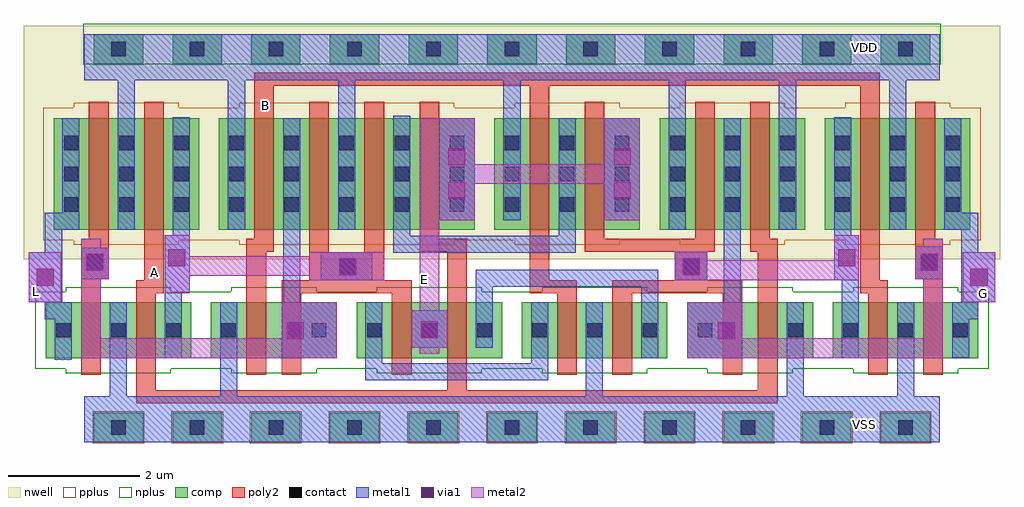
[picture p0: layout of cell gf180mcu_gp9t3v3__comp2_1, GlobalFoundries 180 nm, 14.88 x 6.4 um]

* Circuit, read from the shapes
.subckt gf180mcu_gp9t3v3__comp2_1 A B E G L VDD VSS
XM1 VSS n1 L VSS nfet_03v3 w=0.85u l=0.3u
XM2 n2 A VSS VSS nfet_03v3 w=0.85u l=0.3u
XM3 n3 B VSS VSS nfet_03v3 w=0.85u l=0.3u
XM4 n1 n2 n3 VSS nfet_03v3 w=0.85u l=0.3u
XM5 E n2 n4 VSS nfet_03v3 w=0.85u l=0.3u
XM6 n5 A E VSS nfet_03v3 w=0.85u l=0.3u
XM7 VSS B n4 VSS nfet_03v3 w=0.85u l=0.3u
XM8 n5 n6 VSS VSS nfet_03v3 w=0.85u l=0.3u
XM9 n7 n6 n8 VSS nfet_03v3 w=0.85u l=0.3u
XM10 VSS A n7 VSS nfet_03v3 w=0.85u l=0.3u
XM11 VSS B n6 VSS nfet_03v3 w=0.85u l=0.3u
XM12 G n8 VSS VSS nfet_03v3 w=0.85u l=0.3u
XM13 VDD n1 L VDD pfet_03v3 w=1.7u l=0.3u
XM14 n2 A VDD VDD pfet_03v3 w=1.7u l=0.3u
XM15 n1 B VDD VDD pfet_03v3 w=1.7u l=0.3u
XM16 VDD n2 n1 VDD pfet_03v3 w=1.7u l=0.3u
XM17 n9 n2 VDD VDD pfet_03v3 w=1.7u l=0.3u
XM18 E A n9 VDD pfet_03v3 w=1.7u l=0.3u
XM19 n9 B VDD VDD pfet_03v3 w=1.7u l=0.3u
XM20 E n6 n9 VDD pfet_03v3 w=1.7u l=0.3u
XM21 n8 n6 VDD VDD pfet_03v3 w=1.7u l=0.3u
XM22 VDD A n8 VDD pfet_03v3 w=1.7u l=0.3u
XM23 VDD B n6 VDD pfet_03v3 w=1.7u l=0.3u
XM24 G n8 VDD VDD pfet_03v3 w=1.7u l=0.3u
.ends

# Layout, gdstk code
import gdstk
lib = gdstk.Library(unit=1e-6, precision=1e-09)
def R(c, l, rs):  # rectangles x0, y0, x1, y1
    for r in rs: c.add(gdstk.rectangle(r[:2], r[2:], *l))
def A(c, l, x, y, w, h, nx, ny, dx, dy):  # array of equal rectangles
    R(c, l, [(x+i*dx, y+j*dy, x+i*dx+w, y+j*dy+h) for i in range(nx) for j in range(ny)])
nwell = (21, 0)
comp = (22, 0)
poly2 = (30, 0)
pplus = (31, 0)
nplus = (32, 0)
contact = (33, 0)
metal1 = (34, 0)
via1 = (35, 0)
metal2 = (36, 0)

gf180mcu_gp9t3v3__comp2_ = lib.new_cell('gf180mcu_gp9t3v3__comp2_1')
R(gf180mcu_gp9t3v3__comp2_, nwell, [(-64.035,67.205,-49.155,70.765)])
A(gf180mcu_gp9t3v3__comp2_, comp, -62.97, 64.415, 0.75, 0.45, 11, 2, 1.2, 5.77)
A(gf180mcu_gp9t3v3__comp2_, comp, -56.865, 67.655, 2.22, 1.7, 3, 1, 2.52, 0)
R(gf180mcu_gp9t3v3__comp2_, comp, [(-63.705,65.695,-61.485,66.545), (-61.185,65.695,-59.265,66.545), (-58.965,65.695,-56.745,66.545), (-56.445,65.695,-54.225,66.545), (-53.925,65.695,-52.005,66.545), (-51.705,65.695,-49.485,66.545), (-63.585,67.655,-61.365,69.355), (-61.065,67.655,-57.165,69.355)])
R(gf180mcu_gp9t3v3__comp2_, poly2, [(-62.325,65.005,-52.545,65.205), (-62.325,65.205,-62.025,66.685), (-57.585,65.205,-57.285,67.315), (-52.845,65.205,-52.545,67.315), (-63.165,65.445,-62.865,66.895), (-60.645,65.445,-60.345,67.315), (-60.105,65.445,-59.805,66.685), (-58.425,65.445,-58.125,66.685), (-55.905,65.445,-55.605,66.685), (-55.065,65.445,-54.765,66.685), (-53.385,65.445,-53.085,66.685), (-51.165,65.445,-50.865,66.685), (-50.325,65.445,-50.025,66.895), (-62.325,66.685,-61.905,66.885), (-60.105,66.685,-58.125,66.885), (-56.325,66.685,-55.605,66.885), (-55.065,66.685,-53.085,66.885), (-51.285,66.685,-50.865,66.885), (-62.205,66.885,-61.905,69.605), (-59.685,66.885,-58.545,67.31), (-56.325,66.885,-56.025,69.845), (-54.11,66.885,-53.615,67.315), (-51.285,66.885,-50.985,69.845), (-63.165,66.895,-62.745,67.515), (-50.445,66.895,-50.025,67.515), (-59.685,67.31,-59.385,69.605), (-58.845,67.31,-58.545,69.605), (-60.645,67.315,-60.225,67.515), (-58.005,67.315,-57.285,67.515), (-55.485,67.315,-53.505,67.515), (-52.965,67.315,-52.545,67.515), (-63.045,67.515,-62.745,69.605), (-60.525,67.515,-60.225,69.845), (-58.005,67.515,-57.705,69.605), (-55.485,67.515,-55.185,69.605), (-53.805,67.515,-53.505,69.605), (-52.965,67.515,-52.665,69.605), (-50.445,67.515,-50.145,69.605), (-60.525,69.845,-50.985,70.045)])
A(gf180mcu_gp9t3v3__comp2_, pplus, -62.99, 64.395, 0.79, 0.49, 11, 1, 1.2, 0)
A(gf180mcu_gp9t3v3__comp2_, pplus, -56.555, 67.425, 1.6, 0.07, 3, 2, 2.52, 2.09)
R(gf180mcu_gp9t3v3__comp2_, pplus, [(-63.275,67.425,-61.675,67.495), (-60.755,67.425,-57.475,67.495), (-63.745,67.495,-49.445,69.515), (-63.275,69.515,-61.675,69.585), (-60.755,69.515,-57.475,69.585)])
A(gf180mcu_gp9t3v3__comp2_, nplus, -62.99, 70.165, 0.79, 0.01, 11, 1, 1.2, 0)
R(gf180mcu_gp9t3v3__comp2_, nplus, [(-63.395,65.465,-61.795,65.535), (-60.875,65.465,-59.575,65.535), (-58.655,65.465,-57.055,65.535), (-56.135,65.465,-54.535,65.535), (-53.615,65.465,-52.315,65.535), (-51.395,65.465,-49.795,65.535), (-63.865,65.535,-49.325,66.705), (-63.395,66.705,-61.795,66.775), (-60.875,66.705,-59.575,66.775), (-58.655,66.705,-57.055,66.775), (-56.135,66.705,-54.535,66.775), (-53.615,66.705,-52.315,66.775), (-51.395,66.705,-49.795,66.775), (-63.13,70.175,-50.06,70.795)])
A(gf180mcu_gp9t3v3__comp2_, contact, -62.705, 64.53, 0.22, 0.22, 11, 2, 1.2, 5.77)
A(gf180mcu_gp9t3v3__comp2_, contact, -63.545, 66.01, 0.22, 0.22, 4, 1, 0.84, 0)
A(gf180mcu_gp9t3v3__comp2_, contact, -59.645, 66.01, 0.22, 0.22, 8, 1, 0.84, 0)
A(gf180mcu_gp9t3v3__comp2_, contact, -52.385, 66.01, 0.22, 0.22, 4, 1, 0.84, 0)
A(gf180mcu_gp9t3v3__comp2_, contact, -63.425, 67.925, 0.22, 0.22, 17, 3, 0.84, 0.47)
R(gf180mcu_gp9t3v3__comp2_, contact, [(-59.21,66.98,-58.99,67.2), (-53.97,66.98,-53.75,67.2), (-63.065,67.05,-62.845,67.27), (-50.345,67.05,-50.125,67.27)])
A(gf180mcu_gp9t3v3__comp2_, metal1, -62.605, 67.655, 0.26, 2.28, 3, 1, 1.68, 0)
A(gf180mcu_gp9t3v3__comp2_, metal1, -54.205, 67.655, 0.26, 2.28, 3, 1, 1.68, 0)
R(gf180mcu_gp9t3v3__comp2_, metal1, [(-63.12,64.415,-50.07,65.115), (-62.725,65.115,-62.465,66.545), (-61.045,65.115,-60.785,66.545), (-55.47,65.115,-55.21,66.545), (-52.405,65.115,-52.145,66.545), (-50.725,65.115,-50.465,66.545), (-58.83,65.355,-56.045,65.615), (-58.83,65.615,-58.57,66.545), (-56.305,65.615,-56.045,66.545), (-63.565,65.67,-63.305,66.285), (-61.89,65.695,-61.63,66.685), (-60.105,65.695,-59.265,66.545), (-54.625,65.695,-54.365,66.785), (-53.925,65.695,-53.085,66.545), (-51.565,65.695,-51.305,66.885), (-49.885,65.7,-49.625,66.285), (-58.125,65.855,-57.585,66.425), (-57.145,65.855,-56.885,66.785), (-63.715,66.285,-63.305,66.545), (-49.885,66.285,-49.485,66.545), (-63.96,66.545,-63.455,67.31), (-60.085,66.545,-59.825,69.355), (-53.365,66.545,-53.105,69.355), (-49.745,66.545,-49.23,67.31), (-61.89,66.685,-61.51,67.565), (-57.145,66.785,-54.365,67.045), (-59.51,66.885,-58.725,67.31), (-54.11,66.885,-53.615,67.315), (-51.685,66.885,-51.305,67.565), (-63.165,66.895,-62.745,67.375), (-50.445,66.895,-50.025,67.4), (-58.405,67.3,-55.625,67.56), (-63.715,67.31,-63.455,67.655), (-49.745,67.31,-49.485,67.655), (-58.405,67.56,-58.145,69.39), (-55.885,67.56,-55.625,69.355), (-61.77,67.565,-61.51,69.37), (-51.685,67.565,-51.425,69.37), (-63.715,67.655,-63.19,67.915), (-50.005,67.655,-49.485,67.915), (-57.705,67.8,-57.165,69.355), (-56.725,67.8,-56.465,69.935), (-55.185,67.8,-54.645,69.355), (-63.45,67.915,-63.19,69.355), (-50.005,67.915,-49.745,69.355), (-63.12,69.935,-50.07,70.635)])
R(gf180mcu_gp9t3v3__comp2_, via1, [(-60.03,65.985,-59.77,66.245), (-53.455,65.985,-53.195,66.245), (-57.985,65.995,-57.725,66.255), (-63.84,66.8,-63.58,67.06), (-49.605,66.8,-49.345,67.06), (-59.23,66.96,-58.97,67.22), (-53.99,66.96,-53.73,67.22), (-63.085,67.03,-62.825,67.29), (-50.365,67.03,-50.105,67.29), (-61.835,67.095,-61.575,67.355), (-51.62,67.095,-51.36,67.355), (-57.565,68.115,-57.305,68.375), (-55.045,68.115,-54.785,68.375), (-57.565,68.635,-57.305,68.895), (-55.045,68.635,-54.785,68.895)])
R(gf180mcu_gp9t3v3__comp2_, metal2, [(-63.165,65.695,-59.265,65.995), (-53.925,65.695,-50.025,65.995), (-58.005,65.76,-57.705,65.855), (-58.125,65.855,-57.585,66.425), (-63.165,65.995,-62.865,66.895), (-60.105,65.995,-59.265,66.545), (-53.925,65.995,-53.085,66.545), (-50.325,65.995,-50.025,66.895), (-58.005,66.425,-57.705,67.8), (-63.96,66.545,-63.465,67.31), (-49.725,66.545,-49.23,67.31), (-61.89,66.685,-61.51,66.95), (-59.685,66.885,-58.545,66.95), (-54.11,66.885,-51.305,67.185), (-63.165,66.895,-62.745,67.375), (-50.445,66.895,-50.025,67.4), (-61.89,66.95,-58.545,67.25), (-54.11,67.185,-53.615,67.315), (-51.685,67.185,-51.305,67.565), (-61.89,67.25,-61.51,67.565), (-59.685,67.25,-58.545,67.31), (-63.165,67.375,-62.865,67.515), (-50.325,67.4,-50.025,67.515), (-58.005,67.8,-57.165,68.35), (-55.185,67.8,-54.645,68.35), (-58.005,68.35,-54.645,68.65), (-58.005,68.65,-57.165,69.355), (-55.185,68.65,-54.645,69.355)])
gf180mcu_gp9t3v3__comp2_.add(gdstk.Label('L', (-63.84,66.715), layer=36, texttype=10))
gf180mcu_gp9t3v3__comp2_.add(gdstk.Label('E', (-57.93,66.89), layer=36, texttype=10))
gf180mcu_gp9t3v3__comp2_.add(gdstk.Label('G', (-49.405,66.68), layer=36, texttype=10))
gf180mcu_gp9t3v3__comp2_.add(gdstk.Label('VDD', (-51.22,70.425), layer=34, texttype=10))
gf180mcu_gp9t3v3__comp2_.add(gdstk.Label('VSS', (-51.22,64.68), layer=34, texttype=10))
gf180mcu_gp9t3v3__comp2_.add(gdstk.Label('A', (-62.05,67), layer=30, texttype=10))
gf180mcu_gp9t3v3__comp2_.add(gdstk.Label('B', (-60.35,69.55), layer=30, texttype=10))

lib.write_gds('gf180mcu_gp9t3v3__comp2_1.gds')
